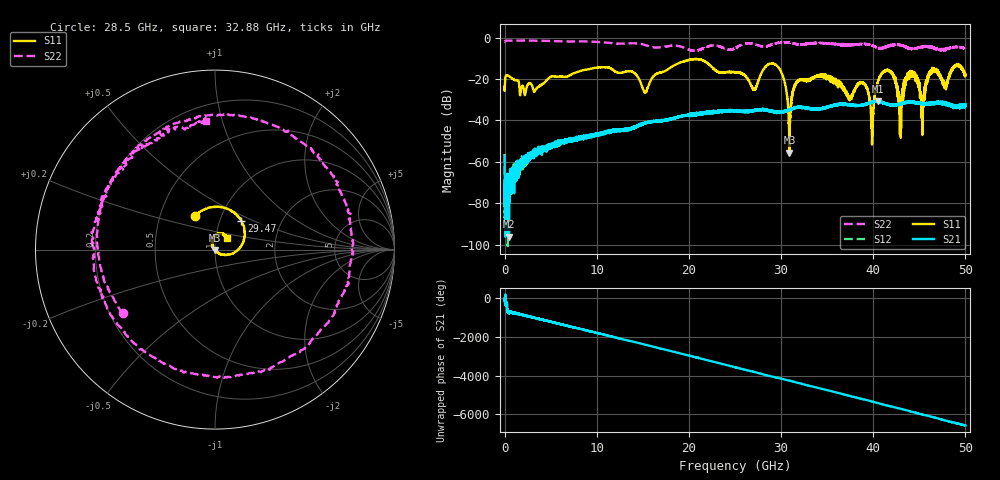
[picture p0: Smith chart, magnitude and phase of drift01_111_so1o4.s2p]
!Created with skrf (http://scikit-rf.org).
# Hz S RI R 50.0
!freq ReS11 ImS11 ReS21 ImS21 ReS12 ImS12 ReS22 ImS22
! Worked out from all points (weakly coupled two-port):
!   10001 points, 300 kHz to 50 GHz, reference 50 ohm
!   highest |S21| = -30.57 dB at 40.47 GHz (marker M1); lowest = -96.2 dB at 475.3 MHz (marker M2)
!   lowest |S11| = -55.6 dB at 30.91 GHz (marker M3), VSWR 1.00, Z = 50 - j0.16 ohm
!   |S11| at or under -10 dB: start of sweep to end of sweep
!   |S22| runs from -6.4 to -1.4 dB; largest |S21 - S12| = 0.0042
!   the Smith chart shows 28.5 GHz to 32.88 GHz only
!   S11 on the Smith chart (normalised r, x): 28.5 GHz: 0.75, +0.29; 29.47 GHz: 1.26, +0.43; 32.88 GHz: 1.14, +0.15
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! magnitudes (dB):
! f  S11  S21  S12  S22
! 300 kHz  -23.7  -57.1  -56.2  -2.1
! 475.3 MHz  -18.6  -96.2  -76.4  -1.4
! 8.335 GHz  -15.9  -48.3  -48.8  -1.8
! 15.24 GHz  -26.5  -41.2  -41.2  -3.5
! 16.67 GHz  -17.1  -40.0  -40.2  -4.8
! 25 GHz  -16.6  -35.3  -35.2  -5.1
! 27.1 GHz  -25.1  -35.2  -35.2  -3.1
! 28.5 GHz  -13.2  -35.2  -35.2  -4.1
! 29.47 GHz  -13.2  -35.9  -35.9  -2.7
! 30.91 GHz  -55.6  -34.9  -34.8  -2.5
! 31.61 GHz  -22.1  -33.9  -33.7  -3.0
! 32.88 GHz  -20.4  -34.2  -34.2  -2.9
! 33.34 GHz  -19.7  -34.4  -34.2  -2.7
! 38.91 GHz  -21.9  -32.4  -32.5  -3.0
! 39.87 GHz  -47.1  -31.1  -31.2  -3.7
! 40.47 GHz  -21.9  -30.6  -30.8  -4.9
! 41.67 GHz  -15.8  -32.3  -32.6  -4.1
! 42.92 GHz  -36.3  -32.3  -32.1  -3.6
! 44.06 GHz  -17.9  -31.1  -31.1  -5.3
! 45.31 GHz  -39.2  -31.7  -31.8  -4.3
! 46.42 GHz  -15.6  -31.8  -31.9  -4.7
! 50 GHz  -17.8  -32.1  -33.1  -5.4
